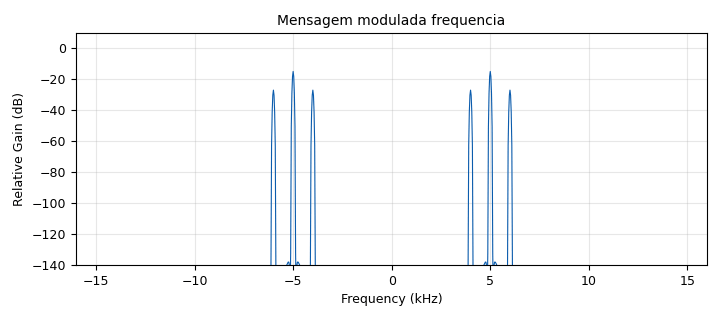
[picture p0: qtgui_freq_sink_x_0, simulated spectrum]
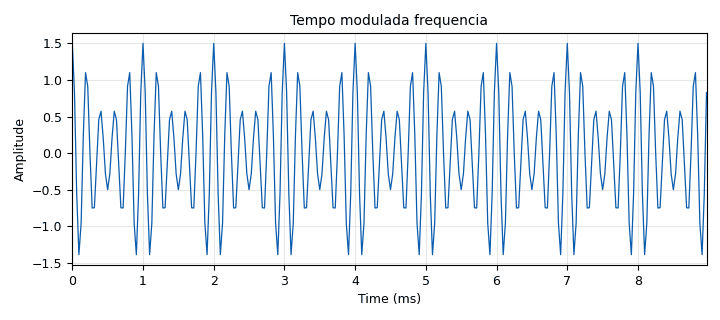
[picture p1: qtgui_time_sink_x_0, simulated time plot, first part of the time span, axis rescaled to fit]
options:
  parameters:
    author: luiz
    generate_options: qt_gui
    id: lab_1
    output_language: python
    title: Not titled yet
  states: {}

blocks:
- name: fc
  id: variable
  parameters:
    value: '5000'
  states: {}
- name: fm
  id: variable
  parameters:
    value: '1000'
  states: {}
- name: samp_rate
  id: variable
  parameters:
    value: '32000'
  states: {}
- name: analog_const_source_x_0
  id: analog_const_source_x
  parameters:
    const: '1'
    type: float
  states: {}
- name: analog_sig_source_x_0
  id: analog_sig_source_x
  parameters:
    amp: '1'
    freq: fc
    offset: '0'
    phase: '0'
    samp_rate: samp_rate
    type: float
    waveform: analog.GR_COS_WAVE
  states: {}
- name: analog_sig_source_x_0_0
  id: analog_sig_source_x
  parameters:
    amp: '1'
    freq: fm
    offset: '0'
    phase: '0'
    samp_rate: samp_rate
    type: float
    waveform: analog.GR_COS_WAVE
  states: {}
- name: blocks_add_xx_0
  id: blocks_add_xx
  parameters:
    type: float
  states: {}
- name: blocks_multiply_const_vxx_0
  id: blocks_multiply_const_vxx
  parameters:
    const: '0.500'
    type: float
  states: {}
- name: blocks_multiply_xx_0
  id: blocks_multiply_xx
  parameters:
    type: float
  states: {}
- name: qtgui_freq_sink_x_0
  id: qtgui_freq_sink_x
  parameters:
    bw: samp_rate
    fc: '0'
    fftsize: '1024'
    name: '"Mensagem modulada frequencia"'
    type: float
  states: {}
- name: qtgui_time_sink_x_0
  id: qtgui_time_sink_x
  parameters:
    name: '"Tempo modulada frequencia"'
    size: '1024'
    srate: samp_rate
    type: float
  states: {}
- name: virtual_sink_0
  id: virtual_sink
  parameters:
    stream_id: Portadora
  states: {}
- name: virtual_sink_0_0
  id: virtual_sink
  parameters:
    stream_id: Mensagem
  states: {}
- name: virtual_source_0
  id: virtual_source
  parameters:
    stream_id: Portadora
  states: {}
- name: virtual_source_1
  id: virtual_source
  parameters:
    stream_id: Mensagem
  states: {}

connections:
- [analog_const_source_x_0, '0', blocks_add_xx_0, '0']
- [analog_sig_source_x_0, '0', virtual_sink_0, '0']
- [analog_sig_source_x_0_0, '0', virtual_sink_0_0, '0']
- [blocks_add_xx_0, '0', blocks_multiply_xx_0, '0']
- [blocks_multiply_const_vxx_0, '0', blocks_add_xx_0, '1']
- [blocks_multiply_xx_0, '0', qtgui_freq_sink_x_0, '0']
- [blocks_multiply_xx_0, '0', qtgui_time_sink_x_0, '0']
- [virtual_source_0, '0', blocks_multiply_xx_0, '1']
- [virtual_source_1, '0', blocks_multiply_const_vxx_0, '0']

metadata:
  file_format: 1
